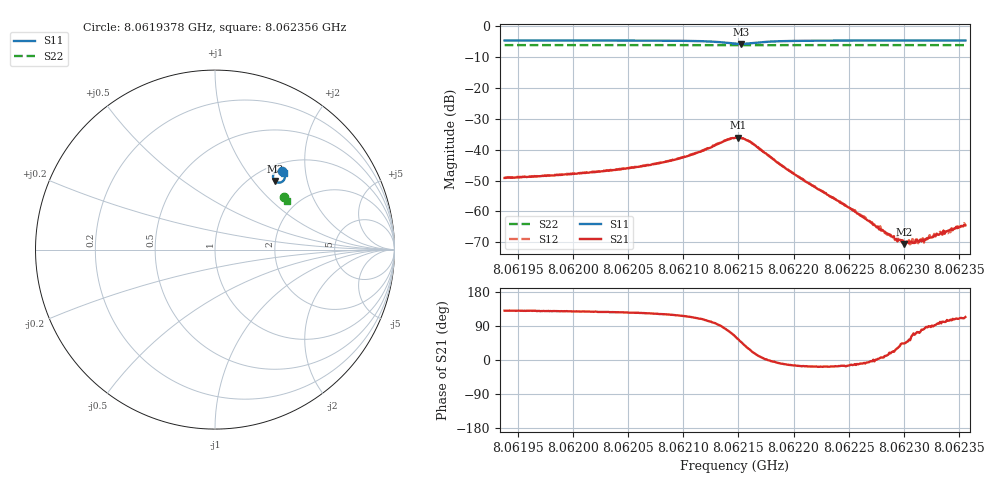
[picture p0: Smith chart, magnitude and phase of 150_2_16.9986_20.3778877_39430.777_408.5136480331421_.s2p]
#  HZ  S  RI  R  50.00
! Rohde & Schwarz Vector Network Analyzer
! Rohde-Schwarz,ZNB20-2Port,1311601062101988,3.16
! Created: UTC 3/20/2024, 10:58:48 PM
! freq[Hz]  re:S11  im:S11  re:S21  im:S21  re:S12  im:S12  re:S22  im:S22
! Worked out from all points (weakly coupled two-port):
!   401 points, 8.0619378 GHz to 8.062356 GHz, reference 50 ohm
!   highest |S21| = -36.18 dB at 8.06215 GHz (marker M1); lowest = -70.5 dB at 8.0623006 GHz (marker M2)
!   lowest |S11| = -5.9 dB at 8.0621521 GHz (marker M3), VSWR 3.06, Z = 63 + j64.8 ohm
!   |S11| at or under -10 dB: nowhere
!   |S22| runs from -6.3 to -6.3 dB; largest |S21 - S12| = 0.0012
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8.06193777e9  0.3723 0.4392  -0.00224 0.00265  -0.00211 0.00286  0.3872 0.2921
8.06200783e9  0.3783 0.4333  -0.00254 0.00327  -0.00237 0.00342  0.3897 0.2886
8.06204129e9  0.3816 0.4292  -0.0028 0.00383  -0.0026 0.00406  0.391 0.2868
8.06207788e9  0.3861 0.4222  -0.00312 0.00511  -0.00288 0.00539  0.3921 0.2848
8.0621082e9  0.3896 0.4092  -0.00324 0.00768  -0.00278 0.00796  0.393 0.2827
8.06213957e9  0.3694 0.3756  0.00266 0.014  0.00338 0.0139  0.3925 0.2801
8.06214689e9  0.349 0.3738  0.00716 0.0137  0.00811 0.0133  0.3918 0.28
8.06215003e9  0.3394 0.3776  0.00901 0.0126  0.0101 0.0121  0.3916 0.2803
8.06215212e9  0.3337 0.3819  0.0102 0.0115  0.011 0.0108  0.3914 0.2804
8.06216258e9  0.3233 0.4109  0.0117 0.00458  0.012 0.00402  0.3919 0.2814
8.06218872e9  0.3491 0.4389  0.00551 -0.000934  0.00551 -0.00125  0.3942 0.281
8.06221695e9  0.3644 0.4388  0.0025 -0.000771  0.00246 -0.00094  0.3959 0.2794
8.06226295e9  0.3747 0.4349  0.0008 -0.00013  0.00082 -0.000194  0.3975 0.2769
8.062287e9  0.3782 0.4329  0.000403 0.000143  0.000408 9.56e-05  0.3984 0.2756
8.06229432e9  0.3791 0.4324  0.000282 0.00017  0.000333 0.0002  0.3987 0.2752
8.06230059e9  0.3798 0.4319  0.000216 0.000206  0.000214 0.000206  0.3988 0.275
8.06230687e9  0.3804 0.4314  0.000157 0.000286  0.000152 0.00023  0.3992 0.2747
8.06231837e9  0.3816 0.4307  4.72e-05 0.000324  5.53e-05 0.00031  0.3995 0.2741
8.06233196e9  0.3829 0.4297  -4.29e-05 0.000418  -2.95e-05 0.000424  0.4 0.2734
8.06234033e9  0.3836 0.4292  -0.000116 0.000476  -7.79e-05 0.00044  0.4004 0.2729
8.06234556e9  0.384 0.4288  -0.000153 0.000507  -0.000162 0.000502  0.4004 0.2728
8.06235601e9  0.3849 0.4283  -0.000237 0.000549  -0.000226 0.00056  0.4007 0.272
